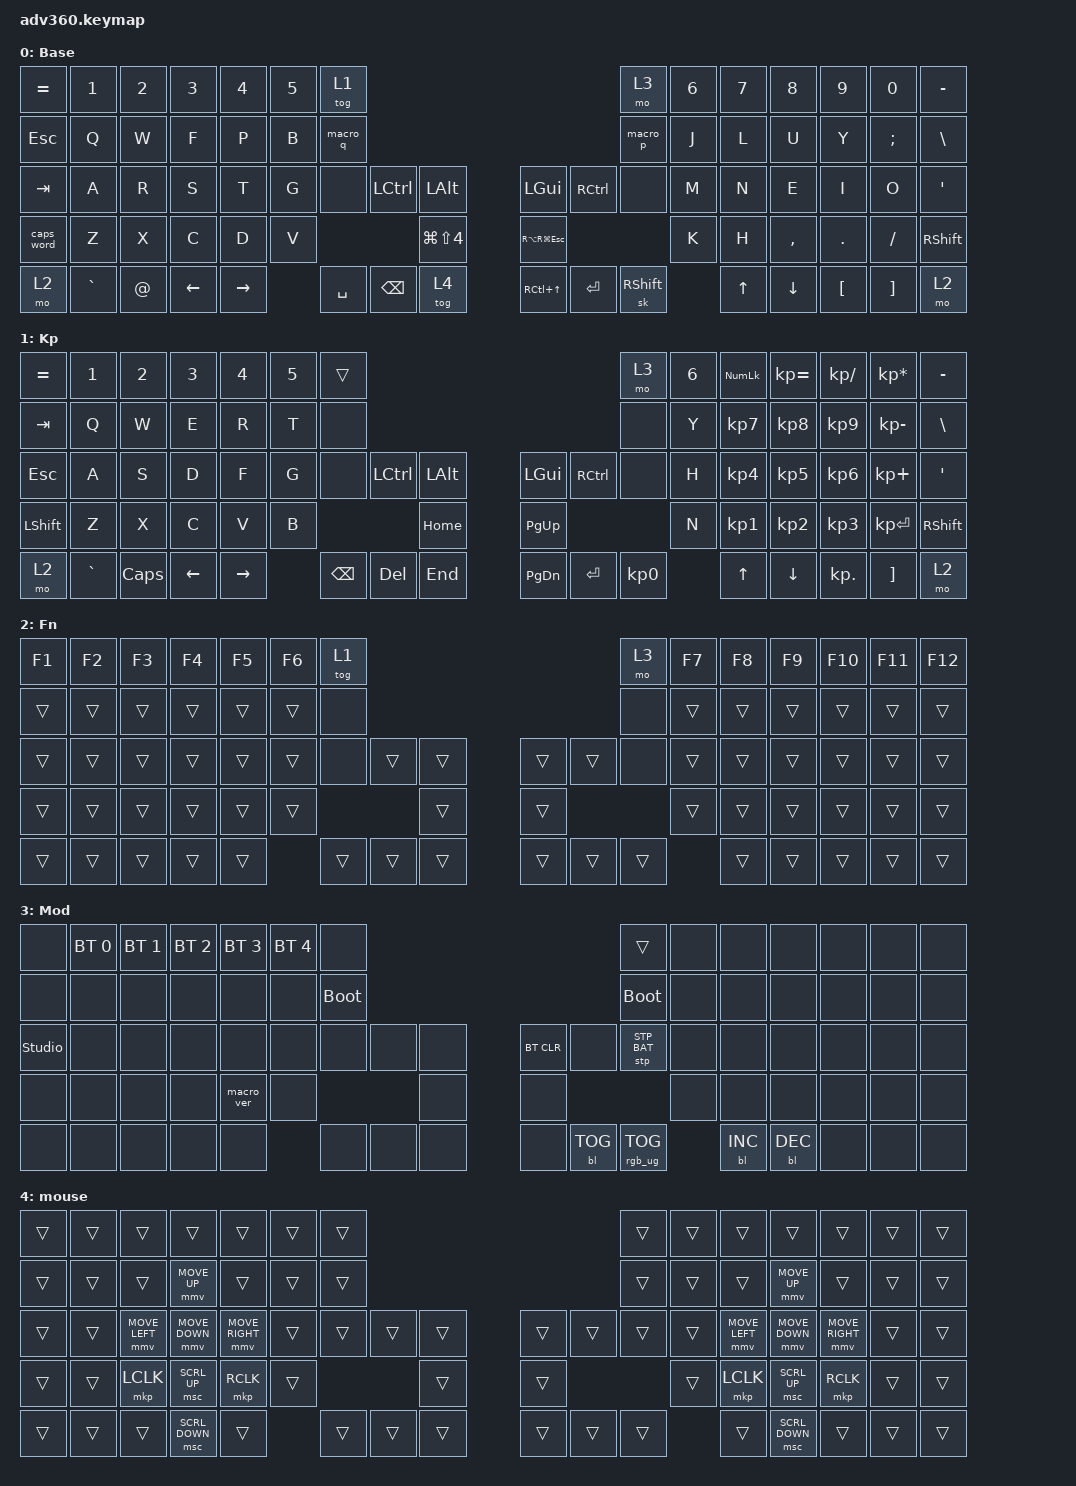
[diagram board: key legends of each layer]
#include <dt-bindings/zmk/stp.h>
#include <behaviors.dtsi>
#include <dt-bindings/zmk/backlight.h>
#include <dt-bindings/zmk/bt.h>
#include <dt-bindings/zmk/keys.h>
#include <dt-bindings/zmk/pointing.h>
#include <dt-bindings/zmk/rgb.h>

/ {
    behaviors {
        #include "macros.dtsi"
      #include "version.dtsi"

        hm: homerow_mods {
            compatible = "zmk,behavior-hold-tap";
            label = "HOMEROW_MODS";
            #binding-cells = <2>;
            tapping-term-ms = <200>;
            quick_tap_ms = <175>;
            flavor = "tap-preferred";
            bindings = <&kp>, <&kp>;
        };
    };

    macros {
        macro_q: macro_quotes {
            compatible = "zmk,behavior-macro";
            #binding-cells = <0>;
            bindings = <&kp DQT &kp DQT &kp LEFT_ARROW>;
            label = "MACRO_QUOTES";
        };

        macro_p: macro_parenth {
            compatible = "zmk,behavior-macro";
            #binding-cells = <0>;
            bindings = <&kp LPAR &kp RPAR &kp LEFT>;
            label = "MACRO_PARENTH";
        };
    };

    keymap {
        compatible = "zmk,keymap";

        default_layer {
            display-name = "Base";
            bindings = <
&kp EQUAL   &kp N1     &kp N2  &kp N3    &kp N4     &kp N5  &tog 1                                                                             &mo 3            &kp N6  &kp N7  &kp N8     &kp N9    &kp N0         &kp MINUS
&kp ESCAPE  &kp Q      &kp W   &kp F     &kp P      &kp B   &macro_q                                                                           &macro_p         &kp J   &kp L   &kp U      &kp Y     &kp SEMICOLON  &kp BSLH
&kp TAB     &kp A      &kp R   &kp S     &kp T      &kp G   &none      &kp LCTRL      &kp LALT                  &kp LGUI            &kp RCTRL  &none            &kp M   &kp N   &kp E      &kp I     &kp O          &kp SQT
&caps_word  &kp Z      &kp X   &kp C     &kp D      &kp V                             &kp LG(LS(NUMBER_4))      &kp RA(RG(ESCAPE))                              &kp K   &kp H   &kp COMMA  &kp DOT   &kp FSLH       &kp RSHFT
&mo 2       &kp GRAVE  &kp AT  &kp LEFT  &kp RIGHT          &kp SPACE  &kp BACKSPACE  &tog 4                    &kp RC(UP_ARROW)    &kp ENTER  &sk RIGHT_SHIFT          &kp UP  &kp DOWN   &kp LBKT  &kp RBKT       &mo 2
            >;
        };

        keypad {
            display-name = "Kp";
            bindings = <
&kp EQUAL  &kp N1     &kp N2    &kp N3    &kp N4     &kp N5  &trans                                                   &mo 3      &kp N6  &kp KP_NUM  &kp KP_EQUAL  &kp KP_DIVIDE  &kp KP_MULTIPLY  &kp MINUS
&kp TAB    &kp Q      &kp W     &kp E     &kp R      &kp T   &none                                                    &none      &kp Y   &kp KP_N7   &kp KP_N8     &kp KP_N9      &kp KP_MINUS     &kp BSLH
&kp ESC    &kp A      &kp S     &kp D     &kp F      &kp G   &none     &kp LCTRL  &kp LALT      &kp LGUI   &kp RCTRL  &none      &kp H   &kp KP_N4   &kp KP_N5     &kp KP_N6      &kp KP_PLUS      &kp SQT
&kp LSHFT  &kp Z      &kp X     &kp C     &kp V      &kp B                        &kp HOME      &kp PG_UP                        &kp N   &kp KP_N1   &kp KP_N2     &kp KP_N3      &kp KP_ENTER     &kp RSHFT
&mo 2      &kp GRAVE  &kp CAPS  &kp LEFT  &kp RIGHT          &kp BSPC  &kp DEL    &kp END       &kp PG_DN  &kp ENTER  &kp KP_N0          &kp UP      &kp DOWN      &kp KP_DOT     &kp RBKT         &mo 2
            >;
        };

        fn {
            display-name = "Fn";
            bindings = <
&kp F1  &kp F2  &kp F3  &kp F4  &kp F5  &kp F6  &tog 1                                      &mo 3   &kp F7  &kp F8  &kp F9  &kp F10  &kp F11  &kp F12
&trans  &trans  &trans  &trans  &trans  &trans  &none                                       &none   &trans  &trans  &trans  &trans   &trans   &trans
&trans  &trans  &trans  &trans  &trans  &trans  &none   &trans  &trans      &trans  &trans  &none   &trans  &trans  &trans  &trans   &trans   &trans
&trans  &trans  &trans  &trans  &trans  &trans                  &trans      &trans                  &trans  &trans  &trans  &trans   &trans   &trans
&trans  &trans  &trans  &trans  &trans          &trans  &trans  &trans      &trans  &trans  &trans          &trans  &trans  &trans   &trans   &trans
            >;
        };

        mod {
            display-name = "Mod";
            bindings = <
&none           &bt BT_SEL 0  &bt BT_SEL 1  &bt BT_SEL 2  &bt BT_SEL 3  &bt BT_SEL 4  &none                                                  &trans           &none  &none       &none       &none  &none  &none
&none           &none         &none         &none         &none         &none         &bootloader                                            &bootloader      &none  &none       &none       &none  &none  &none
&studio_unlock  &none         &none         &none         &none         &none         &none        &none  &none      &bt BT_CLR  &none       &stp STP_BAT     &none  &none       &none       &none  &none  &none
&none           &none         &none         &none         &macro_ver    &none                             &none      &none                                    &none  &none       &none       &none  &none  &none
&none           &none         &none         &none         &none                       &none        &none  &none      &none       &bl BL_TOG  &rgb_ug RGB_TOG         &bl BL_INC  &bl BL_DEC  &none  &none  &none
            >;
        };

        mouse {
            bindings = <
&trans  &trans  &trans          &trans          &trans           &trans  &trans                                      &trans  &trans  &trans          &trans          &trans           &trans  &trans
&trans  &trans  &trans          &mmv MOVE_UP    &trans           &trans  &trans                                      &trans  &trans  &trans          &mmv MOVE_UP    &trans           &trans  &trans
&trans  &trans  &mmv MOVE_LEFT  &mmv MOVE_DOWN  &mmv MOVE_RIGHT  &trans  &trans  &trans  &trans      &trans  &trans  &trans  &trans  &mmv MOVE_LEFT  &mmv MOVE_DOWN  &mmv MOVE_RIGHT  &trans  &trans
&trans  &trans  &mkp LCLK       &msc SCRL_UP    &mkp RCLK        &trans                  &trans      &trans                  &trans  &mkp LCLK       &msc SCRL_UP    &mkp RCLK        &trans  &trans
&trans  &trans  &trans          &msc SCRL_DOWN  &trans                   &trans  &trans  &trans      &trans  &trans  &trans          &trans          &msc SCRL_DOWN  &trans           &trans  &trans
            >;
        };
    };
};
